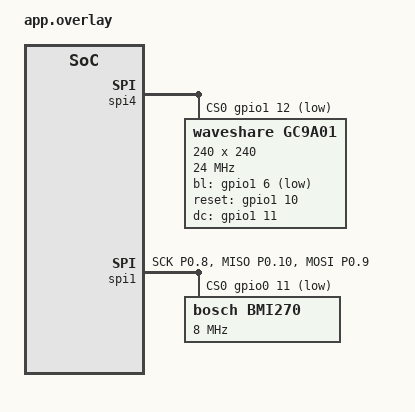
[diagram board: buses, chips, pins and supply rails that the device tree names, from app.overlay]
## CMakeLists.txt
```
#
# Origanization: Rice University & HealthSeers Inc.
# Project: Cairdio Project
# Author: Shaun Lin (hl116@rice.edu)
#

cmake_minimum_required(VERSION 3.20.0)
find_package(Zephyr REQUIRED HINTS $ENV{ZEPHYR_BASE})
project(nrf53_bmi270+gc9a01)

FILE(GLOB app_sources src/*.c ui/*.c)
target_sources(app PRIVATE ${app_sources})

# NORDIC SDK APP END
zephyr_library_include_directories(.)
```

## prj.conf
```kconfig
#
# Origanization: Rice University & HealthSeers Inc.
# Project: Cairdio Project
# Author: Shaun Lin (hl116@rice.edu)
#

# IBMI270 IMU sensor configuration
CONFIG_STDOUT_CONSOLE=y
CONFIG_SPI=y
CONFIG_SENSOR=y
CONFIG_BMI270=y

# Display configuration
CONFIG_LV_Z_MEM_POOL_NUMBER_BLOCKS=8
CONFIG_MAIN_STACK_SIZE=2048
CONFIG_DISPLAY=y
CONFIG_DISPLAY_LOG_LEVEL_ERR=y
CONFIG_LOG=y

CONFIG_GC9A01=y # Enable GC9A01 display driver

CONFIG_PM_DEVICE=y
CONFIG_PM_DEVICE_RUNTIME=y

# LVGL GUI library configuration
CONFIG_LVGL=y
CONFIG_LV_Z_MEM_POOL_NUMBER_BLOCKS=8
CONFIG_LV_MEM_CUSTOM=y
CONFIG_LV_MEM_SIZE_KILOBYTES=128
CONFIG_LV_FONT_MONTSERRAT_10=y
CONFIG_LV_FONT_MONTSERRAT_12=y
CONFIG_LV_FONT_MONTSERRAT_14=y
CONFIG_LV_FONT_MONTSERRAT_16=y
CONFIG_LV_FONT_MONTSERRAT_18=y
CONFIG_LV_FONT_MONTSERRAT_20=y
CONFIG_LV_FONT_DEFAULT_MONTSERRAT_20=y # Default font size

CONFIG_LV_Z_DOUBLE_VDB=y
CONFIG_LV_Z_VDB_SIZE=10

CONFIG_LV_THEME_DEFAULT_DARK=y

# swap_color, SPI is using 8 byte words.The color Data is most time 16 bytes, so we need to swap the bytes
CONFIG_LV_COLOR_16_SWAP=y
```

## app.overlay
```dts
/**
 * @brief This is the app.overlay custom device-tree of the application. Including the spi1 and spi4 configuration.
 * @code
 * SPDX-License-Identifier: LicenseRef-Nordic-5-Clause.
 * @endcode
 *
 * @file app.overlay
 * @version 1.0
 * @author Shaun Lin (hl116@rice.edu)
 * @copyright Rice University & HealthSeers Inc. Ⓒ 2024
 */

 / {
    chosen {
        zephyr,display = &gc9a01;
    };
};
// custom controlpins for spi1
&pinctrl {
    spi1_default: spi1_default {
		group1 {
			psels = <NRF_PSEL(SPIM_SCK, 0, 8)>,
				<NRF_PSEL(SPIM_MISO, 0, 10)>,
				<NRF_PSEL(SPIM_MOSI, 0, 9)>;
		};
	};

	spi1_sleep: spi1_sleep {
		group1 {
			psels = <NRF_PSEL(SPIM_SCK, 0, 8)>,
                <NRF_PSEL(SPIM_MISO, 0, 10)>,
                <NRF_PSEL(SPIM_MOSI, 0, 9)>;
			low-power-enable;
		};
	};

};

/* spi4 pins configuration: P1.15->SCL/D0, 
 *                          P1.14->MISO, // didn't use
 *                          P1.13->MOSI/D1, 
 *                          P1.12->CS,
 *                          P1.11->DC,
 *                          P1.10->RESET, 
 *                          P1.06->BL // Backlight didn't use
 */
&spi4 {
	status = "okay";
    compatible = "nordic,nrf-spim";
    pinctrl-0 = <&spi4_default>;
    pinctrl-1 = <&spi4_sleep>;
    pinctrl-names = "default", "sleep";
    cs-gpios = <&gpio1 12 GPIO_ACTIVE_LOW>;

    gc9a01: gc9a01@0 {
        compatible = "waveshare,gc9a01";
        status = "okay";
        spi-max-frequency = <24000000>; // 24MHz
        reg = <0>;
        width = <240>;
        height = <240>;
        bl-gpios = <&gpio1 6 GPIO_ACTIVE_LOW>;
        reset-gpios = <&gpio1 10 GPIO_ACTIVE_HIGH>;
        dc-gpios = <&gpio1 11 GPIO_ACTIVE_HIGH>;
    };
};

/* spi1 pins configuration: P0.08->SCL, 
 *                          P0.09->MOSI/SDA, 
 *                          P0.10->MISO/SDO, 
 *                          P0.11->CS 
 */
&spi1 {
	status = "okay";
    pinctrl-0 = <&spi1_default>;
    pinctrl-1 = <&spi1_sleep>;
    pinctrl-names = "default", "sleep";
	cs-gpios = <&gpio0 11 GPIO_ACTIVE_LOW>;

	bmi270@0 {
		compatible = "bosch,bmi270";
		reg = <0>;
        spi-max-frequency = <8000000>; // 8MHz
		label = "BMI270";
		// interrupt-parent = <&gpioa>;
		// interrupts = <GPIO_PIN(PA, 0, GPIO_ACTIVE_LOW)>;
	};
};

// ----------------- End of File -----------------
```

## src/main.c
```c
/**
 * @brief This is the main.c source code of the application. The BMI270 Sensor sample template was the initial start of this file for nrf5340 SoC.
 * @code
 * SPDX-License-Identifier: LicenseRef-Nordic-5-Clause.
 * @endcode
 *
 * @file main.c
 * @version 1.0
 * @author Shaun Lin (hl116@rice.edu)
 * @copyright Rice University & HealthSeers Inc. Ⓒ 2024
 */

/**
 * @page main_source_page Application Main Thread
 * @brief This page describes the Main Thread's functionality.
 *
 * @section For Building Release Version
 *
 * @subsection CONFIGS
 * 
 */

// ------------------ Includes ------------------

#include <zephyr/kernel.h>
#include <zephyr/device.h>
#include <zephyr/drivers/sensor.h> // BMI270 IMU sensor driver
#include <stdio.h>
#include <zephyr/devicetree.h>
#include <zephyr/drivers/display.h> // GC9A01 display driver
#include <zephyr/drivers/gpio.h>
#include <lvgl.h> // Graphics library
#include <string.h>
#include <zephyr/logging/log.h>


// ------------------ Macros ------------------

#define LOG_LEVEL CONFIG_LOG_DEFAULT_LEVEL
LOG_MODULE_REGISTER(app);

// button configuration
#ifdef CONFIG_GPIO
static struct gpio_dt_spec button = GPIO_DT_SPEC_GET_OR(DT_ALIAS(sw0), gpios, {0});
static struct gpio_callback button_cb;
static uint32_t count; // button press count

// ------------------ Function Prototypes ------------------

/**
 * @brief Button press interrupt callback function.
 *
 * @param port Pointer to the GPIO device structure for the button.
 * @param cb Pointer to the GPIO callback structure.
 * @param pins Pin mask that triggered the callback.
 */
static void button_isr_callback(const struct device *port, struct gpio_callback *cb, uint32_t pins)
{
	ARG_UNUSED(port);
	ARG_UNUSED(cb);
	ARG_UNUSED(pins);

	count = 0;
}
#endif

/**
 * @brief Setup the hardware button with an interrupt.
 */
static void setup_button(void) {
	int err;
    if (device_is_ready(button.port)) {
        err = gpio_pin_configure_dt(&button, GPIO_INPUT);
		if (err) {
			LOG_ERR("failed to configure button gpio: %d", err);
			return 0;
		}
		gpio_init_callback(&button_cb, button_isr_callback, BIT(button.pin));
		err = gpio_add_callback(button.port, &button_cb);
		if (err) {
			LOG_ERR("failed to add button callback: %d", err);
			return 0;
		}
		err = gpio_pin_interrupt_configure_dt(&button, GPIO_INT_EDGE_TO_ACTIVE);
		if (err) {
			LOG_ERR("failed to enable button callback: %d", err);
			return 0;
		}
    }
}

/**
 * @brief Initialize the display and the LVGL library.
 *
 * @param display_dev Pointer to the display device structure.
 */
static void initialize_display(const struct device *display_dev) {
    if (!device_is_ready(display_dev)) {
        LOG_ERR("Display device is not ready");
        return;
    }
    // lv_init();
    // lvgl_driver_init();
    LOG_INF("Display initialized");
}

/**
 * @brief Setup the BMI270 IMU sensor.
 *
 * @param sensor_dev Pointer to the sensor device structure.
 */
static void setup_sensors(const struct device *sensor_dev) {
    if (!device_is_ready(sensor_dev)) {
        LOG_ERR("Device %s is not ready\n", sensor_dev->name);
        return;
    }
    LOG_INF("Sensor initialized, device %p name is %s\n", sensor_dev, sensor_dev->name);

    // Configure sensor parameters here if necessary
}

/**
 * @brief Configure the IMU sensor's accelerometer and gyroscope.
 * 
 * @param sensor_dev Pointer to the sensor device structure.
 * @return int 0 on success, negative error code on failure.
 */
int configure_imu_sensor(const struct device *sensor_dev) {
	struct sensor_value full_scale, sampling_freq, oversampling;

    if (!device_is_ready(sensor_dev)) {
        LOG_ERR("Sensor device is not ready");
        return -ENODEV;
    }

    // Configure the accelerometer
	/* Setting scale in G, due to loss of precision if the SI unit m/s^2
	 * is used
	 */
    full_scale.val1 = 2;            /* G */
	full_scale.val2 = 0;
	sampling_freq.val1 = 100;       /* Hz. Performance mode */
	sampling_freq.val2 = 0;
	oversampling.val1 = 1;          /* Normal mode */
	oversampling.val2 = 0;

    sensor_attr_set(sensor_dev, SENSOR_CHAN_ACCEL_XYZ, SENSOR_ATTR_FULL_SCALE, &full_scale);
    sensor_attr_set(sensor_dev, SENSOR_CHAN_ACCEL_XYZ, SENSOR_ATTR_OVERSAMPLING, &oversampling);
	/* Set sampling frequency last as this also sets the appropriate
	 * power mode. If already sampling, change to 0.0Hz before changing
	 * other attributes
	 */
    sensor_attr_set(sensor_dev, SENSOR_CHAN_ACCEL_XYZ, SENSOR_ATTR_SAMPLING_FREQUENCY, &sampling_freq);

    // Configure the gyroscope
    /* Setting scale in degrees/s to match the sensor scale */
	full_scale.val1 = 500;          /* dps */
	full_scale.val2 = 0;
	sampling_freq.val1 = 100;       /* Hz. Performance mode */
	sampling_freq.val2 = 0;
	oversampling.val1 = 1;          /* Normal mode */
	oversampling.val2 = 0;

	sensor_attr_set(sensor_dev, SENSOR_CHAN_GYRO_XYZ, SENSOR_ATTR_FULL_SCALE, &full_scale);
	sensor_attr_set(sensor_dev, SENSOR_CHAN_GYRO_XYZ, SENSOR_ATTR_OVERSAMPLING, &oversampling);
	/* Set sampling frequency last as this also sets the appropriate
	 * power mode. If already sampling, change sampling frequency to
	 * 0.0Hz before changing other attributes
	 */
	sensor_attr_set(sensor_dev, SENSOR_CHAN_GYRO_XYZ, SENSOR_ATTR_SAMPLING_FREQUENCY, &sampling_freq);

    LOG_INF("IMU sensor configured successfully.");
    return 0;
}

/**
 * @brief Displays Cairdio & Rice logo for 3 seconds, then removes it after a delay.
 * 
 * @param display_dev Pointer to the display device structure.
 * @return void
 */
void display_logo_animation(const struct device *display_dev) {
	LOG_INF("Loading logo...");

    // Initialize a style for the logo
    static lv_style_t style;
    lv_style_init(&style);

    // Create an image object and apply the style
    lv_obj_t *obj_logo = lv_img_create(lv_scr_act());
    lv_obj_add_style(obj_logo, &style, 0);

    // Declare the image source
    LV_IMG_DECLARE(cairdio_and_rice_logo);
    lv_img_set_src(obj_logo, &cairdio_and_rice_logo);

    // Center the image on the screen
    lv_obj_center(obj_logo);

    // Refresh the display to show the image
    lv_task_handler();
    if (display_dev) {
        display_blanking_off(display_dev);
    }

    // Delay for 3 seconds to display the logo
    k_sleep(K_MSEC(3000));

    // Delete the logo object to clear it from the screen
    lv_obj_del(obj_logo);
}

/**
 * @brief Display menu including bluetooth status, logo, battery status and text for 3 seconds, then clear them after a delay.
 *
 * @param display_dev Pointer to the display device structure.
 */
void menu(const struct device *display_dev) {
	LOG_INF("Loading menu...");

    // Initialize styles
    static lv_style_t style;
    lv_style_init(&style);

    // Create logo objects
    lv_obj_t *obj_cairdio_logo = lv_img_create(lv_scr_act()); // cairdio logo
    lv_obj_t *obj_bluetooth_status = lv_img_create(lv_scr_act()); // bluetooth status
    lv_obj_t *obj_battery_status = lv_img_create(lv_scr_act()); // battery status

    // Apply styles
    lv_obj_add_style(obj_cairdio_logo, &style, 0);
    lv_obj_add_style(obj_bluetooth_status, &style, 0);
    lv_obj_add_style(obj_battery_status, &style, 0);

    // Declare images
    LV_IMG_DECLARE(cairdio_logo);
    LV_IMG_DECLARE(bluetooth_connected);
    LV_IMG_DECLARE(battery_50_percentage);

    // Set sources
    lv_img_set_src(obj_cairdio_logo, &cairdio_logo);
    lv_img_set_src(obj_bluetooth_status, &bluetooth_connected);
    lv_img_set_src(obj_battery_status, &battery_50_percentage);

    // Set zoom and alignment
    lv_img_set_zoom(obj_cairdio_logo, 150);
    lv_img_set_zoom(obj_bluetooth_status, 100);
    lv_img_set_zoom(obj_battery_status, 100);

    lv_obj_align(obj_cairdio_logo, LV_ALIGN_CENTER, 0, -80); // top center
    lv_obj_align(obj_bluetooth_status, LV_ALIGN_CENTER, -65, -78); // top left
    lv_obj_align(obj_battery_status, LV_ALIGN_CENTER, 72, -78); // top right

    // Add text label for instructions
    lv_obj_t *count_label = lv_label_create(lv_scr_act());
    lv_label_set_text(count_label, "Hold the device\n for 10 seconds");
    lv_obj_align(count_label, LV_ALIGN_CENTER, 0, 0); // center

    // Refresh display
    lv_task_handler();
    if (display_dev) {
        display_blanking_off(display_dev);
    }

    // Delay for 3 seconds
    k_sleep(K_MSEC(3000));

    // Clean up
    lv_obj_del(obj_cairdio_logo);
    lv_obj_del(obj_bluetooth_status);
    lv_obj_del(obj_battery_status);
    lv_obj_del(count_label);
}

/**
 * @brief Display system status including bluetooth status, logo and battery status.
 *
 * @param display_dev Pointer to the display device structure.
 */
void system_status_bar(const struct device *display_dev, lv_obj_t *obj_cairdio_logo, lv_obj_t *obj_bluetooth_status, lv_obj_t *obj_battery_status) {
	// Initialize styles
    static lv_style_t style;
    lv_style_init(&style);

    // Apply styles
    lv_obj_add_style(obj_cairdio_logo, &style, 0);
    lv_obj_add_style(obj_bluetooth_status, &style, 0);
    lv_obj_add_style(obj_battery_status, &style, 0);

    // Declare images
    LV_IMG_DECLARE(cairdio_logo);
    LV_IMG_DECLARE(bluetooth_connected);
    LV_IMG_DECLARE(battery_50_percentage);

    // Set sources
    lv_img_set_src(obj_cairdio_logo, &cairdio_logo);
    lv_img_set_src(obj_bluetooth_status, &bluetooth_connected);
    lv_img_set_src(obj_battery_status, &battery_50_percentage);

    // Set zoom and alignment
    lv_img_set_zoom(obj_cairdio_logo, 150);
    lv_img_set_zoom(obj_bluetooth_status, 100);
    lv_img_set_zoom(obj_battery_status, 100);

    lv_obj_align(obj_cairdio_logo, LV_ALIGN_CENTER, 0, -80); // top center
    lv_obj_align(obj_bluetooth_status, LV_ALIGN_CENTER, -65, -78); // top left
    lv_obj_align(obj_battery_status, LV_ALIGN_CENTER, 72, -78); // top right
}

/**
 * @brief Process sensor data to fetch accelerometer and gyro readings.
 *
 * @param sensor_dev Pointer to the sensor device structure.
 * * @return Ay The accelerometer's Y-axis value, with type int.
 */
int process_sensor_data(const struct device *sensor_dev) {
    struct sensor_value acc[3], gyr[3];

    if (sensor_sample_fetch(sensor_dev) < 0) {
        LOG_ERR("Failed to fetch sensor data");
        return;
    }

    sensor_channel_get(sensor_dev, SENSOR_CHAN_ACCEL_XYZ, acc);
    sensor_channel_get(sensor_dev, SENSOR_CHAN_GYRO_XYZ, gyr);

	return acc[1].val1;
}


// ------------------ Main Thread ------------------
/**
 * @brief Main thread of the application entry point.
 */
int main(void) {
    const struct device *display_dev = DEVICE_DT_GET(DT_CHOSEN(zephyr_display));
	const struct device *const sensor_dev = DEVICE_DT_GET_ONE(bosch_bmi270);
	
	// ------------------ Display Initialization ------------------
    initialize_display(display_dev);
    setup_button();

	// ------------------ BMI270 IMU Initialization ------------------
	setup_sensors(sensor_dev);

	int ret = configure_imu_sensor(sensor_dev);
	if (ret != 0) {
		LOG_ERR("Failed to configure IMU sensor: %d", ret);
	}

    display_logo_animation(display_dev);
	menu(display_dev);

	// initialize accelerometer's Y-axis value
	int Ay = 0;
	// initialize the count down label from 10
	int count = 10;
	int count2 = 0;

	LOG_INF("Starting orientation detection...");
	// TODO: refactor following code into modular functions
	// ------------------ Main Thread Loop ------------------
    while (true) {
		// fetch sensor data's Ay value
		Ay = process_sensor_data(sensor_dev);
		// print the Ay (accelerometer's Y-axis value) value in terminal
		LOG_INF("accelerometer's Y-axis value: %d", Ay);

		count2++;
		if (count2 % 5 == 0) {
			count--; // decrement count every 50ms
		}

		// Create system_status_bar's objects
		lv_obj_t *obj_cairdio_logo = lv_img_create(lv_scr_act()); // cairdio logo
		lv_obj_t *obj_bluetooth_status = lv_img_create(lv_scr_act()); // bluetooth status
		lv_obj_t *obj_battery_status = lv_img_create(lv_scr_act()); // battery status
		system_status_bar(display_dev, obj_cairdio_logo, obj_bluetooth_status, obj_battery_status);

		// create a custom slider
		static const lv_style_prop_t props[] = {LV_STYLE_BG_COLOR, 0};
		static lv_style_transition_dsc_t transition_dsc;
		lv_style_transition_dsc_init(&transition_dsc, props, lv_anim_path_linear, 300, 0, NULL);
		static lv_style_t style_main;
		static lv_style_t style_indicator;
		static lv_style_t style_knob;
		static lv_style_t style_pressed_color;
		lv_style_init(&style_main); // background color of the slider
		lv_style_set_bg_opa(&style_main, LV_OPA_COVER);
		lv_style_set_bg_color(&style_main, lv_color_hex3(0xbbb));
		lv_style_set_radius(&style_main, LV_RADIUS_CIRCLE);
		lv_style_set_pad_ver(&style_main, -2); /*Makes the indicator larger*/
		lv_style_init(&style_indicator); // left side of the knob
		lv_style_set_bg_opa(&style_indicator, LV_OPA_TRANSP); // using transparent color to hide the left side of the knob
		lv_style_init(&style_pressed_color);
		lv_style_set_bg_color(&style_pressed_color, lv_palette_darken(LV_PALETTE_CYAN, 2));

		// Create a label below the slider
		lv_obj_t * label = lv_label_create(lv_scr_act());
		lv_obj_t * count2_label = lv_label_create(lv_scr_act());
		
		char count_str[50];
		sprintf(count_str, "Remaining: %d", count);
		lv_label_set_text(count2_label, count_str);
		LOG_INF("Remaining: %d seconds...", count);

		// orientation detection
		// set the text of the label to "move right" if Ay < -1
		if (Ay < -1) {
			lv_style_init(&style_knob);
			lv_style_set_bg_opa(&style_knob, LV_OPA_COVER);
			lv_style_set_bg_color(&style_knob, lv_palette_main(LV_PALETTE_RED));
			lv_style_set_border_color(&style_knob, lv_palette_darken(LV_PALETTE_RED, 3));
			lv_style_set_border_width(&style_knob, 2);
			lv_style_set_radius(&style_knob, LV_RADIUS_CIRCLE);
			lv_style_set_pad_all(&style_knob, 6); /*Makes the knob larger*/
			lv_style_set_transition(&style_knob, &transition_dsc);

			lv_label_set_text(label, "move right");
			lv_obj_set_style_text_color(label, lv_color_hex(0xFF0000), LV_PART_MAIN|LV_STATE_DEFAULT);

			// reset the count to 10 if Ay < -1
			count = 10;
		}
		// set the text of the label to "move left" if Ay > 1
		else if (Ay > 1) {	
			lv_style_init(&style_knob);
			lv_style_set_bg_opa(&style_knob, LV_OPA_COVER);
			lv_style_set_bg_color(&style_knob, lv_palette_main(LV_PALETTE_RED));
			lv_style_set_border_color(&style_knob, lv_palette_darken(LV_PALETTE_RED, 3));
			lv_style_set_border_width(&style_knob, 2);
			lv_style_set_radius(&style_knob, LV_RADIUS_CIRCLE);
			lv_style_set_pad_all(&style_knob, 6); /*Makes the knob larger*/
			lv_style_set_transition(&style_knob, &transition_dsc);

			lv_label_set_text(label, "move left");
			lv_obj_set_style_text_color(label, lv_color_hex(0xFF0000), LV_PART_MAIN|LV_STATE_DEFAULT);

			// reset the count to 10 if Ay > 1
			count = 10;
		}
		// set the text of the label to "stay still" if Ay is between -1 and 1
		else {
			lv_style_init(&style_knob);
			lv_style_set_bg_opa(&style_knob, LV_OPA_COVER);
			lv_style_set_bg_color(&style_knob, lv_palette_main(LV_PALETTE_GREEN));
			lv_style_set_border_color(&style_knob, lv_palette_darken(LV_PALETTE_GREEN, 3));
			lv_style_set_border_width(&style_knob, 2);
			lv_style_set_radius(&style_knob, LV_RADIUS_CIRCLE);
			lv_style_set_pad_all(&style_knob, 6); /*Makes the knob larger*/
			lv_style_set_transition(&style_knob, &transition_dsc);

			lv_label_set_text(label, "stay still");
			lv_obj_set_style_text_color(label, lv_color_hex(0x00FF00), LV_PART_MAIN|LV_STATE_DEFAULT);
		}

		// Create the slider and apply styles
		lv_obj_t * slider = lv_slider_create(lv_scr_act());
		lv_obj_remove_style_all(slider);        /*Remove the styles coming from the theme*/
		lv_obj_add_style(slider, &style_main, LV_PART_MAIN);
		lv_obj_add_style(slider, &style_indicator, LV_PART_INDICATOR);
		lv_obj_add_style(slider, &style_pressed_color, LV_PART_INDICATOR | LV_STATE_PRESSED);
		lv_obj_add_style(slider, &style_knob, LV_PART_KNOB);
		lv_obj_add_style(slider, &style_pressed_color, LV_PART_KNOB | LV_STATE_PRESSED);
		lv_obj_set_size(slider, 200, 10);
		lv_slider_set_range(slider, 0, 200); // set the range of the slider to 0-200

		// map the value of AY to the slider, AY = -10 -> slider = 200, AY = 0 -> slider = 100, AY = 10 -> slider = 0
		int slider_value = 100 - Ay * 10;
		lv_slider_set_value(slider, slider_value, LV_ANIM_OFF);
		lv_obj_center(slider);
		lv_obj_add_event_cb(slider, NULL, LV_EVENT_VALUE_CHANGED, NULL);

		lv_obj_align_to(label, slider, LV_ALIGN_OUT_BOTTOM_MID, 0, 10); // offset the label below the slider 10 pixels
		lv_obj_align_to(count2_label, label, LV_ALIGN_OUT_BOTTOM_MID, 0, 10); // offset the count2_label below the label 10 pixels

		if (count == 0) {
			// print the text "Complete recording" in terminal
			LOG_INF("Complete recording");

			lv_obj_del(slider); // delete the object
			lv_obj_del(label); // delete the object
			lv_obj_del(count2_label); // delete the object
			lv_obj_del(obj_cairdio_logo); // delete the object
			lv_obj_del(obj_bluetooth_status); // delete the object
			lv_obj_del(obj_battery_status); // delete the object

			// after 10 seconds complete, exit the orientation detection and display the text "Check your mobile for the result"
			lv_obj_t * check_mobile_label = lv_label_create(lv_scr_act());
			lv_label_set_text(check_mobile_label, "Check your mobile\n for the result");
			lv_obj_align(check_mobile_label, LV_ALIGN_CENTER, 0, 0); // align on the center of the screen

			lv_task_handler();
			display_blanking_off(display_dev);

			k_sleep(K_MSEC(5000));// delay 5 seconds
			lv_obj_del(check_mobile_label); // delete the object
			lv_obj_clean(lv_scr_act()); // Clear the screen
			break; // exit the loop
		}
		lv_task_handler();
		display_blanking_off(display_dev);

		lv_obj_del(slider); // delete the object
		lv_obj_del(label); // delete the object
		lv_obj_del(count2_label); // delete the object
		lv_obj_del(obj_cairdio_logo); // delete the object
		lv_obj_del(obj_bluetooth_status); // delete the object
		lv_obj_del(obj_battery_status); // delete the object
        
        k_sleep(K_MSEC(10));
    } // end of while loop.

    return 0;
}
// ------------------ End of Main Thread ------------------

// ------------------------ End of File ------------------------
```

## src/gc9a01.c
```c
/**
 * @brief This is the gc9a01.c driver code of the application. Including the gc9a01 display controller driver.
 * @code
 * SPDX-License-Identifier: LicenseRef-Nordic-5-Clause.
 * @endcode
 *
 * @file gc9a01.c
 * @version 1.0
 * @author Shaun Lin (hl116@rice.edu)
 * @copyright Rice University & HealthSeers Inc. Ⓒ 2024
 */

#define DT_DRV_COMPAT waveshare_gc9a01

// --------------------------------- Includes ---------------------------------
#include <string.h>
#include <zephyr/device.h>
#include <zephyr/init.h>
#include <zephyr/drivers/display.h>
#include <zephyr/drivers/gpio.h>
#include <zephyr/drivers/spi.h>
#include <zephyr/sys/byteorder.h>
#include <zephyr/kernel.h>
#include <math.h>
#include <zephyr/logging/log.h>
#include <inttypes.h>
#include <zephyr/pm/pm.h>
#include <zephyr/pm/device.h>
#include <zephyr/pm/policy.h>

// --------------------------------- Defines ---------------------------------
LOG_MODULE_REGISTER(gc9a01, CONFIG_DISPLAY_LOG_LEVEL);

// --------------------------------- Macros ---------------------------------
#define GC9A01_SPI_PROFILING

/**
 * gc9a01 display controller driver.
 *
 */

#define GC9A01A_SLPIN 0x10  ///< Enter Sleep Mode
#define GC9A01A_SLPOUT 0x11 ///< Sleep Out
#define GC9A01A_PTLON 0x12  ///< Partial Mode ON
#define GC9A01A_NORON 0x13  ///< Normal Display Mode ON

#define GC9A01A_INVOFF 0x20   ///< Display Inversion OFF
#define GC9A01A_INVON 0x21    ///< Display Inversion ON
#define GC9A01A_DISPOFF 0x28  ///< Display OFF
#define GC9A01A_DISPON 0x29   ///< Display ON

#define GC9A01A_CASET 0x2A ///< Column Address Set
#define GC9A01A_PASET 0x2B ///< Page Address Set
#define GC9A01A_RAMWR 0x2C ///< Memory Write

#define GC9A01A_PTLAR 0x30    ///< Partial Area
#define GC9A01A_VSCRDEF 0x33  ///< Vertical Scrolling Definition
#define GC9A01A_TEOFF 0x34    ///< Tearing effect line off
#define GC9A01A_TEON 0x35     ///< Tearing effect line on
#define GC9A01A_MADCTL 0x36   ///< Memory Access Control
#define GC9A01A_VSCRSADD 0x37 ///< Vertical Scrolling Start Address
#define GC9A01A_PIXFMT 0x3A   ///< COLMOD: Pixel Format Set

#define GC9A01A1_DFUNCTR 0xB6 ///< Display Function Control

#define GC9A01A1_VREG1A 0xC3 ///< Vreg1a voltage control
#define GC9A01A1_VREG1B 0xC4 ///< Vreg1b voltage control
#define GC9A01A1_VREG2A 0xC9 ///< Vreg2a voltage control

#define GC9A01A_RDID1 0xDA ///< Read ID 1
#define GC9A01A_RDID2 0xDB ///< Read ID 2
#define GC9A01A_RDID3 0xDC ///< Read ID 3

#define GC9A01A1_GMCTRP1 0xE0 ///< Positive Gamma Correction
#define GC9A01A1_GMCTRN1 0xE1 ///< Negative Gamma Correction
#define GC9A01A_FRAMERATE 0xE8 ///< Frame rate control

#define GC9A01A_INREGEN2 0xEF ///< Inter register enable 2
#define GC9A01A_GAMMA1 0xF0 ///< Set gamma 1
#define GC9A01A_GAMMA2 0xF1 ///< Set gamma 2
#define GC9A01A_GAMMA3 0xF2 ///< Set gamma 3
#define GC9A01A_GAMMA4 0xF3 ///< Set gamma 4

#define GC9A01A_INREGEN1 0xFE ///< Inter register enable 1

#define MADCTL_MY 0x80  ///< Bottom to top
#define MADCTL_MX 0x40  ///< Right to left
#define MADCTL_MV 0x20  ///< Reverse Mode
#define MADCTL_ML 0x10  ///< LCD refresh Bottom to top
#define MADCTL_RGB 0x00 ///< Red-Green-Blue pixel order
#define MADCTL_BGR 0x08 ///< Blue-Green-Red pixel order
#define MADCTL_MH 0x04  ///< LCD refresh right to left

#define DISPLAY_WIDTH         DT_INST_PROP(0, width)
#define DISPLAY_HEIGHT        DT_INST_PROP(0, height)

// Command codes:
#define COL_ADDR_SET        0x2A
#define ROW_ADDR_SET        0x2B
#define MEM_WR              0x2C
#define MEM_WR_CONT         0x3C
#define COLOR_MODE          0x3A
#define COLOR_MODE_12_BIT  0x03
#define COLOR_MODE_16_BIT  0x05
#define COLOR_MODE_18_BIT  0x06
#define SLPIN               0x10
#define SLPOUT              0x11

// --------------------------------- Typedefs ---------------------------------
static const uint8_t initcmd[] = {
    GC9A01A_INREGEN2, 0,
    0xEB, 1, 0x14,
    GC9A01A_INREGEN1, 0,
    GC9A01A_INREGEN2, 0,
    0xEB, 1, 0x14,
    0x84, 1, 0x40,
    0x85, 1, 0xFF,
    0x86, 1, 0xFF,
    0x87, 1, 0xFF,
    0x88, 1, 0x0A,
    0x89, 1, 0x21,
    0x8A, 1, 0x00,
    0x8B, 1, 0x80,
    0x8C, 1, 0x01,
    0x8D, 1, 0x01,
    0x8E, 1, 0xFF,
    0x8F, 1, 0xFF,
    0xB6, 2, 0x00, 0x00,
#if DT_PROP(DT_INST(0, waveshare_gc9a01), rotation) == 0
    GC9A01A_MADCTL, 1,  MADCTL_MV | MADCTL_MY | MADCTL_MX | MADCTL_BGR,
#elif DT_PROP(DT_INST(0, waveshare_gc9a01), rotation) == 90
    GC9A01A_MADCTL, 1,  MADCTL_MH | MADCTL_MY | 0 | MADCTL_BGR,
#elif DT_PROP(DT_INST(0, waveshare_gc9a01), rotation) == 180
    GC9A01A_MADCTL, 1,  MADCTL_MV | 0 | 0 | MADCTL_BGR,
#elif DT_PROP(DT_INST(0, waveshare_gc9a01), rotation) == 270
    GC9A01A_MADCTL, 1,  MADCTL_MH | MADCTL_MX | 0 | 0 | MADCTL_BGR,
#else
#error "Unsupported rotation. Use 0, 90, 180 or 270."
#endif
    GC9A01A_PIXFMT, 1, COLOR_MODE_16_BIT,
    0x90, 4, 0x08, 0x08, 0x08, 0x08,
    0xBD, 1, 0x06,
    0xBC, 1, 0x00,
    0xFF, 3, 0x60, 0x01, 0x04,
    GC9A01A1_VREG1A, 1, 0x13,
    GC9A01A1_VREG1B, 1, 0x13,
    GC9A01A1_VREG2A, 1, 0x22,
    0xBE, 1, 0x11,
    GC9A01A1_GMCTRN1, 2, 0x10, 0x0E,
    0xDF, 3, 0x21, 0x0c, 0x02,
    GC9A01A_GAMMA1, 6, 0x45, 0x09, 0x08, 0x08, 0x26, 0x2A,
    GC9A01A_GAMMA2, 6, 0x43, 0x70, 0x72, 0x36, 0x37, 0x6F,
    GC9A01A_GAMMA3, 6, 0x45, 0x09, 0x08, 0x08, 0x26, 0x2A,
    GC9A01A_GAMMA4, 6, 0x43, 0x70, 0x72, 0x36, 0x37, 0x6F,
    0xED, 2, 0x1B, 0x0B,
    0xAE, 1, 0x77,
    0xCD, 1, 0x63,
    0x70, 9, 0x07, 0x07, 0x04, 0x0E, 0x0F, 0x09, 0x07, 0x08, 0x03,
    GC9A01A_FRAMERATE, 1, 0x34,
    0x62, 12, 0x18, 0x0D, 0x71, 0xED, 0x70, 0x70,
    0x18, 0x0F, 0x71, 0xEF, 0x70, 0x70,
    0x63, 12, 0x18, 0x11, 0x71, 0xF1, 0x70, 0x70,
    0x18, 0x13, 0x71, 0xF3, 0x70, 0x70,
    0x64, 7, 0x28, 0x29, 0xF1, 0x01, 0xF1, 0x00, 0x07,
    0x66, 10, 0x3C, 0x00, 0xCD, 0x67, 0x45, 0x45, 0x10, 0x00, 0x00, 0x00,
    0x67, 10, 0x00, 0x3C, 0x00, 0x00, 0x00, 0x01, 0x54, 0x10, 0x32, 0x98,
    0x74, 7, 0x10, 0x85, 0x80, 0x00, 0x00, 0x4E, 0x00,
    0x98, 2, 0x3e, 0x07,
    GC9A01A_TEON, 1, GC9A01A_INVOFF,
    GC9A01A_INVON, 0,
    GC9A01A_DISPON, 0x80, // Display on
    GC9A01A_SLPOUT, 0x80, // Exit sleep
    0x00                  // End of list
};

struct gc9a01_config {
    struct spi_dt_spec bus;
    struct gpio_dt_spec dc_gpio;
    struct gpio_dt_spec bl_gpio;
    struct gpio_dt_spec reset_gpio;
};

struct gc9a01_point {
    uint16_t X, Y;
};

struct gc9a01_frame {
    struct gc9a01_point start, end;
};

static struct gc9a01_frame frame = {{0, 0}, {DISPLAY_WIDTH - 1, DISPLAY_HEIGHT - 1}};

// --------------------------------- Functions ---------------------------------

/**
 * @brief Write a command to the display controller.
 *
 * @param dev Pointer to the device structure for the driver instance.
 * @param cmd Command to write.
 * @param data Data to write.
 * @param len Length of the data.
 * @return int 0 if successful, negative errno code on failure.
 */
static inline int gc9a01_write_cmd(const struct device *dev, uint8_t cmd,
                                   const uint8_t *data, size_t len)
{
    const struct gc9a01_config *config = dev->config;
    struct spi_buf buf = {.buf = &cmd, .len = sizeof(cmd)};
    struct spi_buf_set buf_set = {.buffers = &buf, .count = 1};
    gpio_pin_set_dt(&config->dc_gpio, 0);
    if (spi_write_dt(&config->bus, &buf_set) != 0) {
        LOG_ERR("Failed sending data");
        return -EIO;
    }

    if (data != NULL && len != 0) {
        buf.buf = (void *)data;
        buf.len = len;
        gpio_pin_set_dt(&config->dc_gpio, 1);
        if (spi_write_dt(&config->bus, &buf_set) != 0) {
            LOG_ERR("Failed sending data");
            return -EIO;
        }
    }

    return 0;
}

/**
 * @brief Set the frame to write to.
 *
 * @param dev Pointer to the device structure for the driver instance.
 * @param frame Frame to set.
 */
static void gc9a01_set_frame(const struct device *dev, struct gc9a01_frame frame)
{
    uint8_t data[4];

    data[0] = (frame.start.X >> 8) & 0xFF;
    data[1] = frame.start.X & 0xFF;
    data[2] = (frame.end.X >> 8) & 0xFF;
    data[3] = frame.end.X & 0xFF;
    gc9a01_write_cmd(dev, COL_ADDR_SET, data, sizeof(data));

    data[0] = (frame.start.Y >> 8) & 0xFF;
    data[1] = frame.start.Y & 0xFF;
    data[2] = (frame.end.Y >> 8) & 0xFF;
    data[3] = frame.end.Y & 0xFF;
    gc9a01_write_cmd(dev, ROW_ADDR_SET, data, sizeof(data));
}

/**
 * @brief Turn off the display.
 *
 * @param dev Pointer to the device structure for the driver instance.
 * @return int 0 if successful, negative errno code on failure.
 */
static int gc9a01_blanking_off(const struct device *dev)
{
    return gc9a01_write_cmd(dev, GC9A01A_DISPON, NULL, 0);
}

/**
 * @brief Turn on the display.
 *
 * @param dev Pointer to the device structure for the driver instance.
 * @return int 0 if successful, negative errno code on failure.
 */
static int gc9a01_blanking_on(const struct device *dev)
{
    return gc9a01_write_cmd(dev, GC9A01A_DISPOFF, NULL, 0);
}

/**
 * @brief Write data to the display.
 *
 * @param dev Pointer to the device structure for the driver instance.
 * @param x X coordinate to start writing to.
 * @param y Y coordinate to start writing to.
 * @param desc Buffer descriptor.
 * @param buf Buffer to write.
 * @return int 0 if successful, negative errno code on failure.
 */
static int gc9a01_write(const struct device *dev, const uint16_t x, const uint16_t y,
                        const struct display_buffer_descriptor *desc,
                        const void *buf)
{
    const struct gc9a01_config *config = dev->config;
    __ASSERT(pm_device_action_run(config->bus.bus, PM_DEVICE_ACTION_RESUME) == 0, "Failed resume SPI Bus");
#ifdef GC9A01_SPI_PROFILING
    uint32_t start_time;
    uint32_t stop_time;
    uint32_t cycles_spent;
    uint32_t nanoseconds_spent;
#endif
    uint16_t x_end_idx = x + desc->width - 1;
    uint16_t y_end_idx = y + desc->height - 1;

    frame.start.X = x;
    frame.end.X = x_end_idx;
    frame.start.Y = y;
    frame.end.Y = y_end_idx;
    gc9a01_set_frame(dev, frame);

    size_t len = (x_end_idx + 1 - x) * (y_end_idx + 1 - y) * 16 / 8;
    //printk("x_start: %d, y_start: %d, x_end: %d, y_end: %d, buf_size: %d, pitch: %d len: %d\n", x, y, x_end_idx, y_end_idx, desc->buf_size, desc->pitch, len);

#ifdef GC9A01_SPI_PROFILING
    start_time = k_cycle_get_32();
#endif
    gc9a01_write_cmd(dev, GC9A01A_RAMWR, buf, len);
#ifdef GC9A01_SPI_PROFILING
    stop_time = k_cycle_get_32();
    cycles_spent = stop_time - start_time;
    nanoseconds_spent = k_cyc_to_ns_ceil32(cycles_spent);
    LOG_DBG("%d =>: %dns", len, nanoseconds_spent);
#endif
    __ASSERT(pm_device_action_run(config->bus.bus, PM_DEVICE_ACTION_SUSPEND) == 0, "Failed suspend SPI Bus");
    return 0;
}

/**
 * @brief Read data from the display.
 *
 * @param dev Pointer to the device structure for the driver instance.
 * @param x X coordinate to read from.
 * @param y Y coordinate to read from.
 * @param desc Buffer descriptor.
 * @param buf Buffer to read into.
 * @return int 0 if successful, negative errno code on failure.
 */
static int gc9a01_read(const struct device *dev, const uint16_t x, const uint16_t y,
                       const struct display_buffer_descriptor *desc, void *buf)
{
    LOG_ERR("not supported");
    return -ENOTSUP;
}

/**
 * @brief Get the framebuffer.
 *
 * @param dev Pointer to the device structure for the driver instance.
 * @return void* Pointer to the framebuffer.
 */
static void *gc9a01_get_framebuffer(const struct device *dev)
{
    LOG_ERR("not supported");
    return NULL;
}

/**
 * @brief Set the brightness of the display.
 *
 * @param dev Pointer to the device structure for the driver instance.
 * @param brightness Brightness level.
 * @return int 0 if successful, negative errno code on failure.
 */
static int gc9a01_set_brightness(const struct device *dev,
                                 const uint8_t brightness)
{
    LOG_WRN("not supported");
    return -ENOTSUP;
}

/**
 * @brief Set the contrast of the display.
 *
 * @param dev Pointer to the device structure for the driver instance.
 * @param contrast Contrast level.
 * @return int 0 if successful, negative errno code on failure.
 */
static int gc9a01_set_contrast(const struct device *dev, uint8_t contrast)
{
    LOG_WRN("not supported");
    return -ENOTSUP;
}

/**
 * @brief Get the capabilities of the display.
 *
 * @param dev Pointer to the device structure for the driver instance.
 * @param caps Pointer to the display capabilities structure.
 */
static void gc9a01_get_capabilities(const struct device *dev,
                                    struct display_capabilities *caps)
{
    memset(caps, 0, sizeof(struct display_capabilities));
    caps->x_resolution = DISPLAY_WIDTH;
    caps->y_resolution = DISPLAY_HEIGHT;
    caps->supported_pixel_formats = PIXEL_FORMAT_BGR_565;
    caps->current_pixel_format = PIXEL_FORMAT_BGR_565;
    caps->screen_info = SCREEN_INFO_MONO_MSB_FIRST;
}

/**
 * @brief Set the orientation of the display.
 *
 * @param dev Pointer to the device structure for the driver instance.
 * @param orientation Orientation to set.
 * @return int 0 if successful, negative errno code on failure.
 */
static int gc9a01_set_orientation(const struct device *dev,
                                  const enum display_orientation
                                  orientation) {
    LOG_ERR("Unsupported");
    return -ENOTSUP;
}

/**
 * @brief Set the pixel format of the display.
 *
 * @param dev Pointer to the device structure for the driver instance.
 * @param pf Pixel format to set.
 * @return int 0 if successful, negative errno code on failure.
 */
static int gc9a01_set_pixel_format(const struct device *dev,
                                   const enum display_pixel_format pf)
{
    LOG_ERR("not supported");
    return -ENOTSUP;
}

/**
 * @brief Initialize the display controller.
 *
 * @param dev Pointer to the device structure for the driver instance.
 * @return int 0 if successful, negative errno code on failure.
 */
static int gc9a01_controller_init(const struct device *dev)
{
    int rc;
    int i = 0;
    uint8_t cmd, x, numArgs;
    const uint8_t *addr;
    const struct gc9a01_config *config = dev->config;

    LOG_DBG("Initialize GC9A01 controller");
    gpio_pin_set_dt(&config->reset_gpio, 0);
    k_msleep(5);
    gpio_pin_set_dt(&config->reset_gpio, 1);
    k_msleep(150);
    rc = pm_device_action_run(config->bus.bus, PM_DEVICE_ACTION_RESUME);
    __ASSERT(rc == -EALREADY || rc == 0, "Failed resume SPI Bus");

    addr = initcmd;
    while ((cmd = *addr++) > 0) {
        x = *addr++;
        numArgs = x & 0x7F;
        gc9a01_write_cmd(dev, cmd, addr, numArgs);
        addr += numArgs;
        if (x & 0x80) {
            k_msleep(150);
        }
        i++;
    }

    __ASSERT(pm_device_action_run(config->bus.bus, PM_DEVICE_ACTION_SUSPEND) == 0, "Failed suspend SPI Bus");
    return 0;
}

/**
 * @brief Initialize the display.
 *
 * @param dev Pointer to the device structure for the driver instance.
 * @return int 0 if successful, negative errno code on failure.
 */
static int gc9a01_init(const struct device *dev)
{
    const struct gc9a01_config *config = dev->config;
    LOG_DBG("");

    if (!device_is_ready(config->reset_gpio.port)) {
        LOG_ERR("Reset GPIO device not ready");
        return -ENODEV;
    }

    if (!device_is_ready(config->dc_gpio.port)) {
        LOG_ERR("DC GPIO device not ready");
        return -ENODEV;
    }
    gpio_pin_configure_dt(&config->reset_gpio, GPIO_OUTPUT_INACTIVE);
    gpio_pin_configure_dt(&config->dc_gpio, GPIO_OUTPUT_INACTIVE);

    if (!device_is_ready(config->bl_gpio.port)) {
        LOG_ERR("Busy GPIO device not ready");
        return -ENODEV;
    }

    // Default to 0 brightness
    gpio_pin_configure_dt(&config->bl_gpio, GPIO_OUTPUT_INACTIVE);
    return gc9a01_controller_init(dev);
}

/**
 * @brief Power management of the display.
 *
 * @param dev Pointer to the device structure for the driver instance.
 * @param action Power management action.
 * @return int 0 if successful, negative errno code on failure.
 */
static int gc9a01_pm_action(const struct device *dev,
                            enum pm_device_action action)
{
    int err = 0;
    const struct gc9a01_config *config = dev->config;
    __ASSERT(pm_device_action_run(config->bus.bus, PM_DEVICE_ACTION_RESUME) == 0, "Failed resume SPI Bus");

    switch (action) {
        case PM_DEVICE_ACTION_RESUME:
            err = gc9a01_write_cmd(dev, GC9A01A_SLPOUT, NULL, 0);
            k_msleep(5); // According to datasheet wait 5ms after SLPOUT before next command.
            err = gc9a01_write_cmd(dev, GC9A01A_DISPON, NULL, 0);
            break;
        case PM_DEVICE_ACTION_SUSPEND:
            err = gc9a01_write_cmd(dev, GC9A01A_DISPOFF, NULL, 0);
            err = gc9a01_write_cmd(dev, GC9A01A_SLPIN, NULL, 0);
            break;
        case PM_DEVICE_ACTION_TURN_ON:
            err = gc9a01_init(dev);
            break;
        case PM_DEVICE_ACTION_TURN_OFF:
            break;
        default:
            err = -ENOTSUP;
    }

    err = pm_device_action_run(config->bus.bus, PM_DEVICE_ACTION_SUSPEND);
    __ASSERT(err == 0 || err == -EALREADY, "Failed suspend SPI Bus");

    if (err == -EALREADY) {
        err = 0;
    }

    if (err < 0) {
        LOG_ERR("%s: failed to set power mode", dev->name);
    }

    return err;
}

// --------------------------------- Variables ---------------------------------
static const struct gc9a01_config gc9a01_config = {
    .bus = SPI_DT_SPEC_INST_GET(0, SPI_OP_MODE_MASTER | SPI_WORD_SET(8), 0),
    .reset_gpio = GPIO_DT_SPEC_INST_GET(0, reset_gpios),
    .dc_gpio = GPIO_DT_SPEC_INST_GET(0, dc_gpios),
    .bl_gpio = GPIO_DT_SPEC_INST_GET(0, bl_gpios),
};

static struct display_driver_api gc9a01_driver_api = {
    .blanking_on = gc9a01_blanking_on,
    .blanking_off = gc9a01_blanking_off,
    .write = gc9a01_write,
    .read = gc9a01_read,
    .get_framebuffer = gc9a01_get_framebuffer,
    .set_brightness = gc9a01_set_brightness,
    .set_contrast = gc9a01_set_contrast,
    .get_capabilities = gc9a01_get_capabilities,
    .set_pixel_format = gc9a01_set_pixel_format,
    .set_orientation = gc9a01_set_orientation,
};

PM_DEVICE_DT_INST_DEFINE(0, gc9a01_pm_action);
DEVICE_DT_INST_DEFINE(0, gc9a01_init, PM_DEVICE_DT_INST_GET(0), NULL, &gc9a01_config, POST_KERNEL,
                      CONFIG_DISPLAY_INIT_PRIORITY, &gc9a01_driver_api);
```
